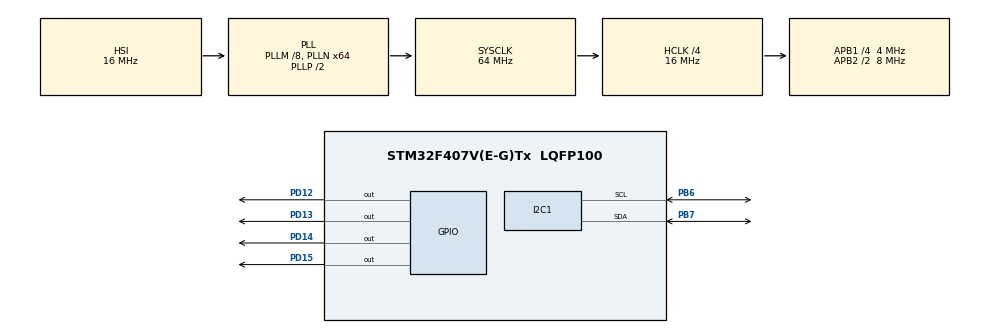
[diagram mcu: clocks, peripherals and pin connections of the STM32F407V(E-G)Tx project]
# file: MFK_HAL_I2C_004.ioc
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I2C1.I2C_Mode=I2C_Fast
Mcu.Family=STM32F4
Mcu.Name=STM32F407V(E-G)Tx
Mcu.Package=LQFP100
NVIC.PriorityGroup=NVIC_PRIORITYGROUP_4
PA13.Mode=Serial_Wire
PA13.Signal=SYS_JTMS-SWDIO
PA14.Mode=Serial_Wire
PA14.Signal=SYS_JTCK-SWCLK
PB6.Mode=I2C
PB6.Signal=I2C1_SCL
PB7.Mode=I2C
PB7.Signal=I2C1_SDA
PD12.Signal=GPIO_Output
PD13.Signal=GPIO_Output
PD14.Signal=GPIO_Output
PD15.Signal=GPIO_Output
ProjectManager.HeapSize=0x200
ProjectManager.StackSize=0x400
ProjectManager.TargetToolchain=STM32CubeIDE
RCC.48MHZClocksFreq_Value=32000000
RCC.AHBCLKDivider=RCC_SYSCLK_DIV4
RCC.AHBFreq_Value=16000000
RCC.APB1CLKDivider=RCC_HCLK_DIV4
RCC.APB1Freq_Value=4000000
RCC.APB1TimFreq_Value=8000000
RCC.APB2CLKDivider=RCC_HCLK_DIV2
RCC.APB2Freq_Value=8000000
RCC.APB2TimFreq_Value=16000000
RCC.CortexFreq_Value=16000000
RCC.HCLKFreq_Value=16000000
RCC.HSE_VALUE=25000000
RCC.HSI_VALUE=16000000
RCC.LSE_VALUE=32768
RCC.PLLM=8
RCC.PLLN=64
RCC.SYSCLKFreq_VALUE=64000000
RCC.SYSCLKSource=RCC_SYSCLKSOURCE_PLLCLK
RCC.VCOOutputFreq_Value=128000000
board=custom

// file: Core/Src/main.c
/* USER CODE BEGIN Header */
/**
  ******************************************************************************
  * @file           : main.c
  * @brief          : Main program body
  ******************************************************************************
  * @attention
  *
  * Copyright (c) 2023 STMicroelectronics.
  * All rights reserved.
  *
  * This software is licensed under terms that can be found in the LICENSE file
  * in the root directory of this software component.
  * If no LICENSE file comes with this software, it is provided AS-IS.
  *
  ******************************************************************************
  */
/* USER CODE END Header */
#include "main.h"

/* USER CODE BEGIN Includes */

#define adress 0xA6

uint8_t status;
uint8_t data_rec;

void I2C_Write(uint8_t reg,uint8_t value);
uint8_t I2C_Read(uint8_t reg,uint8_t numberofbytes);
void I2C_init();

/* USER CODE END Includes */

I2C_HandleTypeDef hi2c1;

void SystemClock_Config(void);
static void MX_GPIO_Init(void);
static void MX_I2C1_Init(void);

/* USER CODE BEGIN 0 */

void I2C_Write(uint8_t reg,uint8_t value)
{
	uint8_t data[2];
	data[0] = reg;
	data[1] = value;

	HAL_I2C_Master_Transmit(&hi2c1, adress, data, 2, 100);
}

// Okuma Fonksiyonu

uint8_t I2C_Read(uint8_t reg,uint8_t numberofbytes)
{
	HAL_I2C_Mem_Read(&hi2c1, adress, reg, 1, &data_rec, numberofbytes, 100);
	return data_rec;
}

void I2C_init()
{
	I2C_Read(0x00,1);

	I2C_Write(0x2D,0); // Reset all bits
	I2C_Write(0x2D,0x08); // Measure mode on

	I2C_Write(0x2A,0x01); // TAP_Z Axes Enable

	I2C_Write(0x1D,40); //62.5mg/LSB * 40 = 2.5 g'lik KUvvete tekabül eder.

	I2C_Write(0x21,32); // Basma süresini ayarla. 652us/LSB * 32 = 0.02s.

	I2C_Write(0x22,80); // Dokunma gecikmesini ayarla. 1.25ms/LSB * 80 = 0.01s.

	// Dokunma penceresi, WINDIW register'a 240 yazarak 0.3sn'ye ayarlıyorum. (.3 / .00125) Bu değer ikinci bir basmanın olabileceği, gecikme
    // süresinin sona ermesinden sonra geçen süreyi temsil eder.
	I2C_Write(0x23, 240);

	// INT MAP'i INT1 olarak ayarla.
	I2C_Write(0x2F,0);

	// INT_ENABLE single and double tap enable
	I2C_Write(0x2E,0x60);

}

/* USER CODE END 0 */

int main(void)
{

  /* MCU Configuration--------------------------------------------------------*/

  /* Reset of all peripherals, Initializes the Flash interface and the Systick. */
  HAL_Init();

  /* Configure the system clock */
  SystemClock_Config();

  /* Initialize all configured peripherals */
  MX_GPIO_Init();
  MX_I2C1_Init();
  /* USER CODE BEGIN 2 */

  I2C_init();

  /* USER CODE END 2 */

  /* Infinite loop */
  while (1)
  {

    /* USER CODE BEGIN 3 */

	  status = I2C_Read(0x30,1); // INT Source registerini oku.

//	  myDatas[0];  Overrun
//	  myDatas[1];  Watermark
//	  myDatas[2];  FREE_FALL
//	  myDatas[3];  Inactivity
//	  myDatas[4];  Activity
//	  myDatas[5];  DOUBLE_TAP
//	  myDatas[6];  SINGLE_TAP
//	  myDatas[7];  DATA_READY

	  if(status & (1 << 5)) // double tap control
	  {
		  HAL_GPIO_TogglePin(GPIOD,GPIO_PIN_13 | GPIO_PIN_15);

	  }
	  if(status & (1 << 6)) // single tap control
	  {
		  HAL_GPIO_TogglePin(GPIOD,GPIO_PIN_12 | GPIO_PIN_14);

	  }

  }
  /* USER CODE END 3 */
}

void SystemClock_Config(void)
{
  RCC_OscInitTypeDef RCC_OscInitStruct = {0};
  RCC_ClkInitTypeDef RCC_ClkInitStruct = {0};

  /** Configure the main internal regulator output voltage
  */
  __HAL_RCC_PWR_CLK_ENABLE();
  __HAL_PWR_VOLTAGESCALING_CONFIG(PWR_REGULATOR_VOLTAGE_SCALE1);

  /** Initializes the RCC Oscillators according to the specified parameters
  * in the RCC_OscInitTypeDef structure.
  */
  RCC_OscInitStruct.OscillatorType = RCC_OSCILLATORTYPE_HSI;
  RCC_OscInitStruct.HSIState = RCC_HSI_ON;
  RCC_OscInitStruct.HSICalibrationValue = RCC_HSICALIBRATION_DEFAULT;
  RCC_OscInitStruct.PLL.PLLState = RCC_PLL_ON;
  RCC_OscInitStruct.PLL.PLLSource = RCC_PLLSOURCE_HSI;
  RCC_OscInitStruct.PLL.PLLM = 8;
  RCC_OscInitStruct.PLL.PLLN = 64;
  RCC_OscInitStruct.PLL.PLLP = RCC_PLLP_DIV2;
  RCC_OscInitStruct.PLL.PLLQ = 4;
  if (HAL_RCC_OscConfig(&RCC_OscInitStruct) != HAL_OK)
  {
    Error_Handler();
  }

  /** Initializes the CPU, AHB and APB buses clocks
  */
  RCC_ClkInitStruct.ClockType = RCC_CLOCKTYPE_HCLK|RCC_CLOCKTYPE_SYSCLK
                              |RCC_CLOCKTYPE_PCLK1|RCC_CLOCKTYPE_PCLK2;
  RCC_ClkInitStruct.SYSCLKSource = RCC_SYSCLKSOURCE_PLLCLK;
  RCC_ClkInitStruct.AHBCLKDivider = RCC_SYSCLK_DIV4;
  RCC_ClkInitStruct.APB1CLKDivider = RCC_HCLK_DIV4;
  RCC_ClkInitStruct.APB2CLKDivider = RCC_HCLK_DIV2;

  if (HAL_RCC_ClockConfig(&RCC_ClkInitStruct, FLASH_LATENCY_0) != HAL_OK)
  {
    Error_Handler();
  }
}

static void MX_I2C1_Init(void)
{

  hi2c1.Instance = I2C1;
  hi2c1.Init.ClockSpeed = 400000;
  hi2c1.Init.DutyCycle = I2C_DUTYCYCLE_2;
  hi2c1.Init.OwnAddress1 = 0;
  hi2c1.Init.AddressingMode = I2C_ADDRESSINGMODE_7BIT;
  hi2c1.Init.DualAddressMode = I2C_DUALADDRESS_DISABLE;
  hi2c1.Init.OwnAddress2 = 0;
  hi2c1.Init.GeneralCallMode = I2C_GENERALCALL_DISABLE;
  hi2c1.Init.NoStretchMode = I2C_NOSTRETCH_DISABLE;
  if (HAL_I2C_Init(&hi2c1) != HAL_OK)
  {
    Error_Handler();
  }

}

static void MX_GPIO_Init(void)
{
  GPIO_InitTypeDef GPIO_InitStruct = {0};

  /* GPIO Ports Clock Enable */
  __HAL_RCC_GPIOD_CLK_ENABLE();
  __HAL_RCC_GPIOA_CLK_ENABLE();
  __HAL_RCC_GPIOB_CLK_ENABLE();

  /*Configure GPIO pin Output Level */
  HAL_GPIO_WritePin(GPIOD, GPIO_PIN_12|GPIO_PIN_13|GPIO_PIN_14|GPIO_PIN_15, GPIO_PIN_RESET);

  /*Configure GPIO pins : PD12 PD13 PD14 PD15 */
  GPIO_InitStruct.Pin = GPIO_PIN_12|GPIO_PIN_13|GPIO_PIN_14|GPIO_PIN_15;
  GPIO_InitStruct.Mode = GPIO_MODE_OUTPUT_PP;
  GPIO_InitStruct.Pull = GPIO_NOPULL;
  GPIO_InitStruct.Speed = GPIO_SPEED_FREQ_LOW;
  HAL_GPIO_Init(GPIOD, &GPIO_InitStruct);

}

void Error_Handler(void)
{
  __disable_irq();
  while (1)
  {
  }
}
